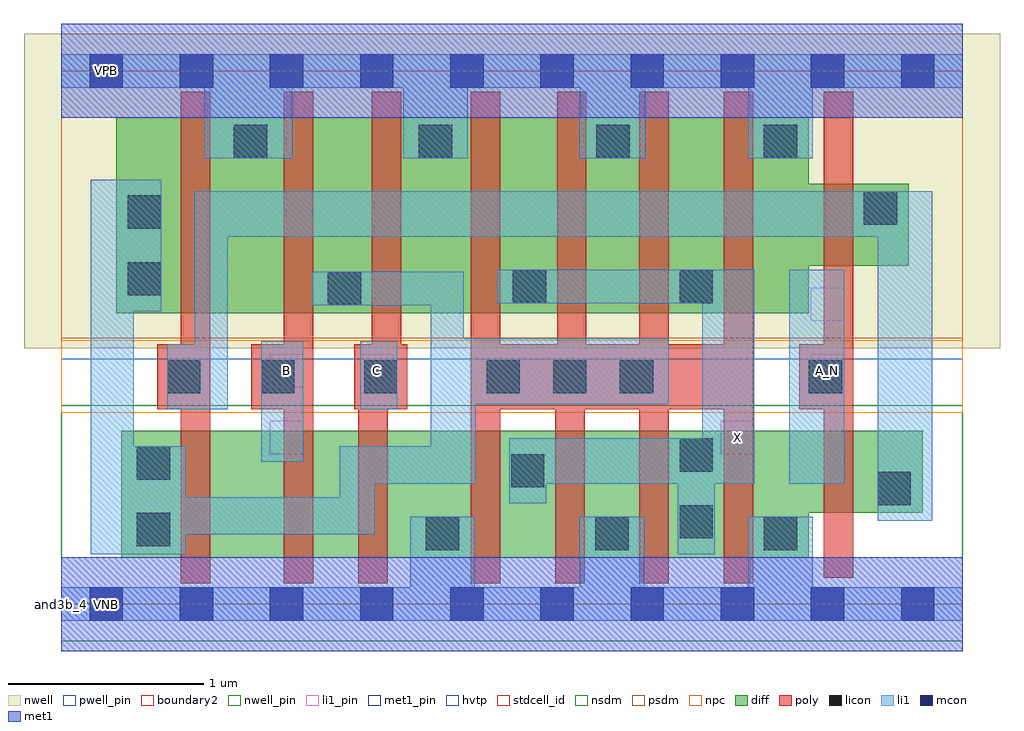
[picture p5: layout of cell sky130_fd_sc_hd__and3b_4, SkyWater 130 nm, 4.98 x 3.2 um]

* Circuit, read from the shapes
.subckt sky130_fd_sc_hd__and3b_4 A_N B C VGND VNB VPB VPWR X
XM1 n1 n2 n3 VNB sky130_fd_pr__nfet_01v8 w=0.65 l=0.15
XM2 n4 B n1 VNB sky130_fd_pr__nfet_01v8 w=0.65 l=0.15
XM3 VGND C n4 VNB sky130_fd_pr__nfet_01v8 w=0.65 l=0.15
XM4 X n3 VGND VNB sky130_fd_pr__nfet_01v8 w=0.65 l=0.15 m=4
XM5 n2 A_N VGND VNB sky130_fd_pr__nfet_01v8 w=0.42 l=0.15
XM6 VPWR n2 n3 VPB sky130_fd_pr__pfet_01v8_hvt w=1 l=0.15
XM7 n3 B VPWR VPB sky130_fd_pr__pfet_01v8_hvt w=1 l=0.15
XM8 VPWR C n3 VPB sky130_fd_pr__pfet_01v8_hvt w=1 l=0.15
XM9 X n3 VPWR VPB sky130_fd_pr__pfet_01v8_hvt w=1 l=0.15 m=4
XM10 n2 A_N VPWR VPB sky130_fd_pr__pfet_01v8_hvt w=0.42 l=0.15
.ends

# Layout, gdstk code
import gdstk
lib = gdstk.Library(unit=1e-6, precision=1e-09)
def R(c, l, rs):  # rectangles x0, y0, x1, y1
    for r in rs: c.add(gdstk.rectangle(r[:2], r[2:], *l))
def A(c, l, x, y, w, h, nx, ny, dx, dy):  # array of equal rectangles
    R(c, l, [(x+i*dx, y+j*dy, x+i*dx+w, y+j*dy+h) for i in range(nx) for j in range(ny)])
def P(c, l, *ps):  # polygons
    for p in ps: c.add(gdstk.Polygon(p, *l))
nwell_pin = (64, 16)
nwell = (64, 20)
diff = (65, 20)
poly = (66, 20)
licon = (66, 44)
li1_pin = (67, 16)
li1 = (67, 20)
mcon = (67, 44)
met1_pin = (68, 16)
met1 = (68, 20)
hvtp = (78, 44)
stdcell_id = (81, 4)
nsdm = (93, 44)
psdm = (94, 20)
npc = (95, 20)
pwell_pin = (122, 16)
boundary2 = (236, 0)

sky130_fd_sc_hd__and3b_4 = lib.new_cell('sky130_fd_sc_hd__and3b_4')
R(sky130_fd_sc_hd__and3b_4, nwell_pin, [(0.145,2.635,0.315,2.805)])
R(sky130_fd_sc_hd__and3b_4, nwell, [(-0.19,1.305,4.79,2.91)])
P(sky130_fd_sc_hd__and3b_4, diff, [(4.325,2.145),(3.815,2.145),(3.815,2.485),(0.28,2.485),(0.28,1.485),(3.815,1.485),(3.815,1.725),(4.325,1.725)],
  [(4.395,0.885),(0.305,0.885),(0.305,0.235),(3.815,0.235),(3.815,0.465),(4.395,0.465)])
P(sky130_fd_sc_hd__and3b_4, poly, [(0.76,2.615),(0.61,2.615),(0.61,1.325),(0.49,1.325),(0.49,0.995),(0.61,0.995),(0.61,0.105),(0.76,0.105)],
  [(1.285,2.615),(1.135,2.615),(1.135,1.325),(0.97,1.325),(0.97,0.995),(1.135,0.995),(1.135,0.105),(1.285,0.105)],
  [(1.765,1.325),(1.735,1.325),(1.735,2.615),(1.585,2.615),(1.585,1.325),(1.495,1.325),(1.495,0.995),(1.515,0.995),(1.515,0.105),(1.665,0.105),(1.665,0.995),(1.765,0.995)],
  [(3.53,2.615),(3.38,2.615),(3.38,1.325),(3.1,1.325),(3.1,2.615),(2.95,2.615),(2.95,1.325),(2.68,1.325),(2.68,2.615),(2.53,2.615),(2.53,1.325),(2.24,1.325),(2.24,2.615),(2.09,2.615),(2.09,0.105),(2.24,0.105),(2.24,0.995),(2.52,0.995),(2.52,0.105),(2.67,0.105),(2.67,0.995),(2.95,0.995),(2.95,0.105),(3.1,0.105),(3.1,0.995),(3.38,0.995),(3.38,0.105),(3.53,0.105)],
  [(4.04,2.615),(3.89,2.615),(3.89,1.325),(3.765,1.325),(3.765,0.995),(3.89,0.995),(3.89,0.135),(4.04,0.135)])
A(sky130_fd_sc_hd__and3b_4, licon, 2.17, 1.075, 0.17, 0.17, 3, 1, 0.34, 0)
R(sky130_fd_sc_hd__and3b_4, licon, [(1.86,0.275,2.03,0.445), (2.725,0.275,2.895,0.445), (3.585,0.275,3.755,0.445), (0.385,0.295,0.555,0.465), (3.155,0.335,3.325,0.505), (4.165,0.505,4.335,0.675), (2.295,0.595,2.465,0.765), (0.385,0.635,0.555,0.805), (3.155,0.675,3.325,0.845), (0.54,1.075,0.71,1.245), (1.02,1.075,1.19,1.245), (1.545,1.075,1.715,1.245), (3.815,1.075,3.985,1.245), (1.36,1.525,1.53,1.695), (2.305,1.535,2.475,1.705), (3.155,1.535,3.325,1.705), (0.34,1.575,0.51,1.745), (0.34,1.915,0.51,2.085), (4.095,1.935,4.265,2.105), (0.88,2.275,1.05,2.445), (1.825,2.275,1.995,2.445), (2.73,2.275,2.9,2.445), (3.585,2.275,3.755,2.445)])
R(sky130_fd_sc_hd__and3b_4, li1_pin, [(1.065,0.765,1.235,0.935), (3.365,0.765,3.535,0.935), (1.065,1.105,1.235,1.275), (1.525,1.105,1.695,1.275), (3.825,1.105,3.995,1.275), (3.825,1.445,3.995,1.615)])
R(sky130_fd_sc_hd__and3b_4, li1, [(3.715,0.615,3.995,1.705), (1.02,0.725,1.235,1.34), (1.525,0.995,1.715,1.34)])
P(sky130_fd_sc_hd__and3b_4, li1, [(4.6,2.805),(0,2.805),(0,2.635),(0.73,2.635),(0.73,2.275),(1.18,2.275),(1.18,2.635),(1.745,2.635),(1.745,2.275),(2.075,2.275),(2.075,2.635),(2.645,2.635),(2.645,2.275),(2.98,2.275),(2.98,2.635),(3.505,2.635),(3.505,2.275),(3.835,2.275),(3.835,2.635),(4.6,2.635)],
  [(4.445,2.105),(0.68,2.105),(0.68,1.325),(0.54,1.325),(0.54,0.995),(0.85,0.995),(0.85,1.875),(4.165,1.875),(4.165,0.425),(4.445,0.425)],
  [(4.6,0.085),(3.835,0.085),(3.835,0.445),(3.505,0.445),(3.505,0.085),(2.975,0.085),(2.975,0.445),(2.645,0.445),(2.645,0.085),(2.11,0.085),(2.11,0.445),(1.78,0.445),(1.78,0.085),(0,0.085),(0,-0.085),(4.6,-0.085)],
  [(3.535,1.705),(2.225,1.705),(2.225,1.535),(3.27,1.535),(3.27,0.845),(2.285,0.845),(2.285,0.515),(2.475,0.515),(2.475,0.615),(3.145,0.615),(3.145,0.255),(3.335,0.255),(3.335,0.615),(3.535,0.615)],
  [(3.1,1.355),(2.055,1.355),(2.055,1.695),(1.28,1.695),(1.28,1.525),(1.885,1.525),(1.885,0.805),(1.42,0.805),(1.42,0.545),(0.635,0.545),(0.635,0.805),(0.37,0.805),(0.37,1.495),(0.51,1.495),(0.51,2.165),(0.15,2.165),(0.15,0.255),(0.635,0.255),(0.635,0.355),(1.6,0.355),(1.6,0.615),(2.115,0.615),(2.115,1.02),(3.1,1.02)])
A(sky130_fd_sc_hd__and3b_4, mcon, 0.145, -0.085, 0.17, 0.17, 10, 2, 0.46, 2.72)
R(sky130_fd_sc_hd__and3b_4, met1_pin, [(0.145,-0.085,0.315,0.085), (0.145,2.635,0.315,2.805)])
R(sky130_fd_sc_hd__and3b_4, hvtp, [(0,1.25,4.6,2.72)])
R(sky130_fd_sc_hd__and3b_4, stdcell_id, [(0,0,4.6,2.72)])
R(sky130_fd_sc_hd__and3b_4, nsdm, [(0,-0.19,4.6,1.015)])
R(sky130_fd_sc_hd__and3b_4, psdm, [(0,1.355,4.6,2.91)])
R(sky130_fd_sc_hd__and3b_4, npc, [(0,0.975,4.6,1.345)])
R(sky130_fd_sc_hd__and3b_4, pwell_pin, [(0.145,-0.085,0.315,0.085)])
R(sky130_fd_sc_hd__and3b_4, boundary2, [(0,0,4.6,2.72)])
sky130_fd_sc_hd__and3b_4.add(gdstk.FlexPath([(0,2.72),(4.6,2.72)], 0.48, ends="flush", simple_path=True, layer=68, datatype=20))  # met1
sky130_fd_sc_hd__and3b_4.add(gdstk.FlexPath([(0,0),(4.6,0)], 0.48, ends="flush", simple_path=True, layer=68, datatype=20))  # met1
sky130_fd_sc_hd__and3b_4.add(gdstk.Label('A_N', (3.91,1.19), layer=67, texttype=5))
sky130_fd_sc_hd__and3b_4.add(gdstk.Label('X', (3.45,0.85), layer=67, texttype=5))
sky130_fd_sc_hd__and3b_4.add(gdstk.Label('C', (1.61,1.19), layer=67, texttype=5))
sky130_fd_sc_hd__and3b_4.add(gdstk.Label('B', (1.15,1.19), layer=67, texttype=5))
sky130_fd_sc_hd__and3b_4.add(gdstk.Label('VNB', (0.23,0), layer=64, texttype=59))
sky130_fd_sc_hd__and3b_4.add(gdstk.Label('VPB', (0.23,2.72), layer=64, texttype=5))
sky130_fd_sc_hd__and3b_4.add(gdstk.Label('VGND', (0.23,0), layer=68, texttype=5))
sky130_fd_sc_hd__and3b_4.add(gdstk.Label('VPWR', (0.23,2.72), layer=68, texttype=5))
sky130_fd_sc_hd__and3b_4.add(gdstk.Label('and3b_4', (0,0), layer=83, texttype=44))

lib.write_gds('sky130_fd_sc_hd__and3b_4.gds')
